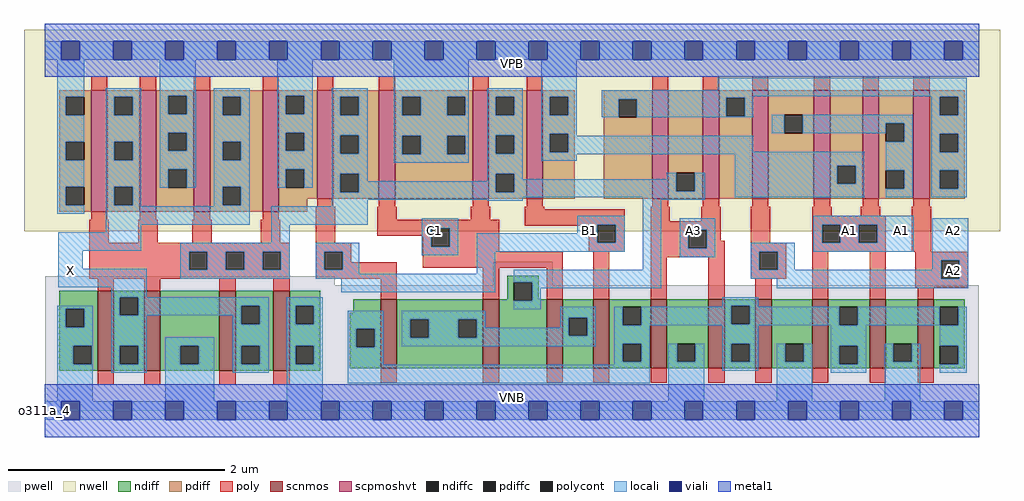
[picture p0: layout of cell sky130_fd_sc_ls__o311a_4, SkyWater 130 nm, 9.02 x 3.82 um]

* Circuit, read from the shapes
.subckt sky130_fd_sc_ls__o311a_4 A1 A2 A3 B1 C1 VGND VNB VPB VPWR X
XM1 X n1 VGND VNB sky130_fd_pr__nfet_01v8 w=0.74 l=0.15 m=4
XM2 n2 B1 n3 VNB sky130_fd_pr__nfet_01v8 w=0.64 l=0.15 m=2
XM3 n1 C1 n2 VNB sky130_fd_pr__nfet_01v8 w=0.64 l=0.15 m=2
XM4 VGND A3 n3 VNB sky130_fd_pr__nfet_01v8 w=0.64 l=0.15 m=2
XM5 VGND A2 n3 VNB sky130_fd_pr__nfet_01v8 w=0.64 l=0.15 m=2
XM6 n3 A1 VGND VNB sky130_fd_pr__nfet_01v8 w=0.64 l=0.15 m=2
XM7 X n1 VPWR VPB sky130_fd_pr__pfet_01v8_hvt w=1.12 l=0.15 m=4
XM8 n1 B1 VPWR VPB sky130_fd_pr__pfet_01v8_hvt w=1 l=0.15 m=2
XM9 VPWR C1 n1 VPB sky130_fd_pr__pfet_01v8_hvt w=1 l=0.15 m=2
XM10 n1 A3 n4 VPB sky130_fd_pr__pfet_01v8_hvt w=1 l=0.15 m=2
XM11 n5 A2 n4 VPB sky130_fd_pr__pfet_01v8_hvt w=1 l=0.15 m=2
XM12 VPWR A1 n5 VPB sky130_fd_pr__pfet_01v8_hvt w=1 l=0.15 m=2
.ends

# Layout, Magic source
magic
tech sky130A
magscale 1 2
<< nwell >>
rect -38 332 1766 704
<< pwell >>
rect 1 232 536 248
rect 829 232 939 275
rect 1 49 1727 232
rect 0 0 1728 49
<< scnmos >>
rect 98 74 128 222
rect 184 74 214 222
rect 323 74 353 222
rect 423 74 453 222
rect 621 78 651 206
rect 810 78 840 206
rect 928 78 958 206
rect 1014 78 1044 206
rect 1120 78 1150 206
rect 1227 78 1257 206
rect 1314 78 1344 206
rect 1419 78 1449 206
rect 1525 78 1555 206
rect 1614 78 1644 206
<< scpmoshvt >>
rect 86 368 116 592
rect 176 368 206 592
rect 276 368 306 592
rect 403 368 433 592
rect 504 392 534 592
rect 618 392 648 592
rect 791 392 821 592
rect 891 392 921 592
rect 1123 392 1153 592
rect 1217 392 1247 592
rect 1308 392 1338 592
rect 1422 392 1452 592
rect 1512 392 1542 592
rect 1606 392 1636 592
<< ndiff >>
rect 27 188 98 222
rect 27 154 39 188
rect 73 154 98 188
rect 27 120 98 154
rect 27 86 53 120
rect 87 86 98 120
rect 27 74 98 86
rect 128 210 184 222
rect 128 176 139 210
rect 173 176 184 210
rect 128 120 184 176
rect 128 86 139 120
rect 173 86 184 120
rect 128 74 184 86
rect 214 120 323 222
rect 214 86 251 120
rect 285 86 323 120
rect 214 74 323 86
rect 353 194 423 222
rect 353 160 364 194
rect 398 160 423 194
rect 353 120 423 160
rect 353 86 364 120
rect 398 86 423 120
rect 353 74 423 86
rect 453 194 510 222
rect 855 237 913 249
rect 855 206 867 237
rect 453 160 464 194
rect 498 160 510 194
rect 571 181 621 206
rect 453 120 510 160
rect 453 86 464 120
rect 498 86 510 120
rect 453 74 510 86
rect 564 151 621 181
rect 564 117 576 151
rect 610 117 621 151
rect 564 78 621 117
rect 651 169 810 206
rect 651 135 676 169
rect 710 135 765 169
rect 799 135 810 169
rect 651 78 810 135
rect 840 203 867 206
rect 901 206 913 237
rect 901 203 928 206
rect 840 78 928 203
rect 958 172 1014 206
rect 958 138 969 172
rect 1003 138 1014 172
rect 958 78 1014 138
rect 1044 192 1120 206
rect 1044 158 1069 192
rect 1103 158 1120 192
rect 1044 124 1120 158
rect 1044 90 1069 124
rect 1103 90 1120 124
rect 1044 78 1120 90
rect 1150 124 1227 206
rect 1150 90 1169 124
rect 1203 90 1227 124
rect 1150 78 1227 90
rect 1257 194 1314 206
rect 1257 160 1269 194
rect 1303 160 1314 194
rect 1257 124 1314 160
rect 1257 90 1269 124
rect 1303 90 1314 124
rect 1257 78 1314 90
rect 1344 124 1419 206
rect 1344 90 1369 124
rect 1403 90 1419 124
rect 1344 78 1419 90
rect 1449 192 1525 206
rect 1449 158 1469 192
rect 1503 158 1525 192
rect 1449 120 1525 158
rect 1449 86 1469 120
rect 1503 86 1525 120
rect 1449 78 1525 86
rect 1555 124 1614 206
rect 1555 90 1569 124
rect 1603 90 1614 124
rect 1555 78 1614 90
rect 1644 192 1701 206
rect 1644 158 1655 192
rect 1689 158 1701 192
rect 1644 120 1701 158
rect 1644 86 1655 120
rect 1689 86 1701 120
rect 1644 78 1701 86
<< pdiff >>
rect 27 580 86 592
rect 27 546 39 580
rect 73 546 86 580
rect 27 497 86 546
rect 27 463 39 497
rect 73 463 86 497
rect 27 414 86 463
rect 27 380 39 414
rect 73 380 86 414
rect 27 368 86 380
rect 116 580 176 592
rect 116 546 129 580
rect 163 546 176 580
rect 116 497 176 546
rect 116 463 129 497
rect 163 463 176 497
rect 116 414 176 463
rect 116 380 129 414
rect 163 380 176 414
rect 116 368 176 380
rect 206 582 276 592
rect 206 548 229 582
rect 263 548 276 582
rect 206 514 276 548
rect 206 480 229 514
rect 263 480 276 514
rect 206 446 276 480
rect 206 412 229 446
rect 263 412 276 446
rect 206 368 276 412
rect 306 580 403 592
rect 306 546 329 580
rect 363 546 403 580
rect 306 497 403 546
rect 306 463 329 497
rect 363 463 403 497
rect 306 414 403 463
rect 306 380 329 414
rect 363 380 403 414
rect 306 368 403 380
rect 433 582 504 592
rect 433 548 446 582
rect 480 548 504 582
rect 433 514 504 548
rect 433 480 446 514
rect 480 480 504 514
rect 433 446 504 480
rect 433 412 446 446
rect 480 412 504 446
rect 433 392 504 412
rect 534 580 618 592
rect 534 546 547 580
rect 581 546 618 580
rect 534 509 618 546
rect 534 475 547 509
rect 581 475 618 509
rect 534 438 618 475
rect 534 404 547 438
rect 581 404 618 438
rect 534 392 618 404
rect 648 580 791 592
rect 648 546 661 580
rect 695 546 744 580
rect 778 546 791 580
rect 648 508 791 546
rect 648 474 661 508
rect 695 474 744 508
rect 778 474 791 508
rect 648 392 791 474
rect 821 580 891 592
rect 821 546 834 580
rect 868 546 891 580
rect 821 509 891 546
rect 821 475 834 509
rect 868 475 891 509
rect 821 438 891 475
rect 821 404 834 438
rect 868 404 891 438
rect 821 392 891 404
rect 921 580 980 592
rect 921 546 934 580
rect 968 546 980 580
rect 921 512 980 546
rect 921 478 934 512
rect 968 478 980 512
rect 921 392 980 478
rect 1034 576 1123 592
rect 1034 542 1061 576
rect 1095 542 1123 576
rect 1034 392 1123 542
rect 1153 440 1217 592
rect 1153 406 1168 440
rect 1202 406 1217 440
rect 1153 392 1217 406
rect 1247 578 1308 592
rect 1247 544 1260 578
rect 1294 544 1308 578
rect 1247 392 1308 544
rect 1338 547 1422 592
rect 1338 513 1367 547
rect 1401 513 1422 547
rect 1338 392 1422 513
rect 1452 453 1512 592
rect 1452 419 1465 453
rect 1499 419 1512 453
rect 1452 392 1512 419
rect 1542 531 1606 592
rect 1542 497 1555 531
rect 1589 497 1606 531
rect 1542 444 1606 497
rect 1542 410 1555 444
rect 1589 410 1606 444
rect 1542 392 1606 410
rect 1636 580 1701 592
rect 1636 546 1655 580
rect 1689 546 1701 580
rect 1636 512 1701 546
rect 1636 478 1655 512
rect 1689 478 1701 512
rect 1636 444 1701 478
rect 1636 410 1655 444
rect 1689 410 1701 444
rect 1636 392 1701 410
rect 433 368 486 392
<< ndiffc >>
rect 39 154 73 188
rect 53 86 87 120
rect 139 176 173 210
rect 139 86 173 120
rect 251 86 285 120
rect 364 160 398 194
rect 364 86 398 120
rect 464 160 498 194
rect 464 86 498 120
rect 576 117 610 151
rect 676 135 710 169
rect 765 135 799 169
rect 867 203 901 237
rect 969 138 1003 172
rect 1069 158 1103 192
rect 1069 90 1103 124
rect 1169 90 1203 124
rect 1269 160 1303 194
rect 1269 90 1303 124
rect 1369 90 1403 124
rect 1469 158 1503 192
rect 1469 86 1503 120
rect 1569 90 1603 124
rect 1655 158 1689 192
rect 1655 86 1689 120
<< pdiffc >>
rect 39 546 73 580
rect 39 463 73 497
rect 39 380 73 414
rect 129 546 163 580
rect 129 463 163 497
rect 129 380 163 414
rect 229 548 263 582
rect 229 480 263 514
rect 229 412 263 446
rect 329 546 363 580
rect 329 463 363 497
rect 329 380 363 414
rect 446 548 480 582
rect 446 480 480 514
rect 446 412 480 446
rect 547 546 581 580
rect 547 475 581 509
rect 547 404 581 438
rect 661 546 695 580
rect 744 546 778 580
rect 661 474 695 508
rect 744 474 778 508
rect 834 546 868 580
rect 834 475 868 509
rect 834 404 868 438
rect 934 546 968 580
rect 934 478 968 512
rect 1061 542 1095 576
rect 1168 406 1202 440
rect 1260 544 1294 578
rect 1367 513 1401 547
rect 1465 419 1499 453
rect 1555 497 1589 531
rect 1555 410 1589 444
rect 1655 546 1689 580
rect 1655 478 1689 512
rect 1655 410 1689 444
<< poly >>
rect 86 592 116 618
rect 176 592 206 618
rect 276 592 306 618
rect 403 592 433 618
rect 504 592 534 618
rect 618 592 648 618
rect 791 592 821 618
rect 891 592 921 618
rect 1123 592 1153 618
rect 1217 592 1247 618
rect 1308 592 1338 618
rect 1422 592 1452 618
rect 1512 592 1542 618
rect 1606 592 1636 618
rect 504 377 534 392
rect 618 377 648 392
rect 791 377 821 392
rect 891 377 921 392
rect 1123 377 1153 392
rect 1217 377 1247 392
rect 1308 377 1338 392
rect 1422 377 1452 392
rect 1512 377 1542 392
rect 1606 377 1636 392
rect 86 353 116 368
rect 176 353 206 368
rect 276 353 306 368
rect 403 353 433 368
rect 83 310 119 353
rect 173 310 209 353
rect 273 310 309 353
rect 400 310 436 353
rect 501 310 537 377
rect 615 353 651 377
rect 788 353 824 377
rect 888 372 924 377
rect 615 337 840 353
rect 888 344 1072 372
rect 888 342 1022 344
rect 615 323 715 337
rect 83 294 453 310
rect 83 260 267 294
rect 301 260 335 294
rect 369 260 403 294
rect 437 260 453 294
rect 83 244 453 260
rect 501 294 567 310
rect 501 260 517 294
rect 551 274 567 294
rect 699 303 715 323
rect 749 303 840 337
rect 699 294 840 303
rect 1006 310 1022 342
rect 1056 310 1072 344
rect 1006 294 1072 310
rect 1120 350 1156 377
rect 1214 350 1250 377
rect 1120 334 1250 350
rect 1120 300 1190 334
rect 1224 314 1250 334
rect 1224 300 1257 314
rect 551 260 651 274
rect 699 264 958 294
rect 501 244 651 260
rect 98 222 128 244
rect 184 222 214 244
rect 323 222 353 244
rect 423 222 453 244
rect 621 206 651 244
rect 810 206 840 264
rect 928 206 958 264
rect 1014 206 1044 294
rect 1120 284 1257 300
rect 1120 206 1150 284
rect 1227 206 1257 284
rect 1305 310 1341 377
rect 1419 360 1455 377
rect 1509 360 1545 377
rect 1419 344 1555 360
rect 1419 310 1437 344
rect 1471 310 1505 344
rect 1539 310 1555 344
rect 1305 294 1371 310
rect 1305 260 1321 294
rect 1355 260 1371 294
rect 1305 244 1371 260
rect 1419 294 1555 310
rect 1603 294 1639 377
rect 1314 206 1344 244
rect 1419 206 1449 294
rect 1525 206 1555 294
rect 1609 278 1707 294
rect 1609 244 1657 278
rect 1691 244 1707 278
rect 1609 228 1707 244
rect 1614 206 1644 228
rect 98 48 128 74
rect 184 48 214 74
rect 323 48 353 74
rect 423 48 453 74
rect 621 52 651 78
rect 810 52 840 78
rect 928 52 958 78
rect 1014 52 1044 78
rect 1120 52 1150 78
rect 1227 52 1257 78
rect 1314 52 1344 78
rect 1419 52 1449 78
rect 1525 52 1555 78
rect 1614 52 1644 78
<< polycont >>
rect 267 260 301 294
rect 335 260 369 294
rect 403 260 437 294
rect 517 260 551 294
rect 715 303 749 337
rect 1022 310 1056 344
rect 1190 300 1224 334
rect 1437 310 1471 344
rect 1505 310 1539 344
rect 1321 260 1355 294
rect 1657 244 1691 278
<< locali >>
rect 0 649 31 683
rect 65 649 127 683
rect 161 649 223 683
rect 257 649 319 683
rect 353 649 415 683
rect 449 649 511 683
rect 545 649 607 683
rect 641 649 703 683
rect 737 649 799 683
rect 833 649 895 683
rect 929 649 991 683
rect 1025 649 1087 683
rect 1121 649 1183 683
rect 1217 649 1279 683
rect 1313 649 1375 683
rect 1409 649 1471 683
rect 1505 649 1567 683
rect 1601 649 1663 683
rect 1697 649 1728 683
rect 23 580 73 649
rect 23 546 39 580
rect 23 497 73 546
rect 23 463 39 497
rect 23 414 73 463
rect 23 380 39 414
rect 23 364 73 380
rect 113 580 179 596
rect 113 546 129 580
rect 163 546 179 580
rect 113 497 179 546
rect 113 463 129 497
rect 163 463 179 497
rect 113 414 179 463
rect 113 380 129 414
rect 163 380 179 414
rect 213 582 279 649
rect 213 548 229 582
rect 263 548 279 582
rect 213 514 279 548
rect 213 480 229 514
rect 263 480 279 514
rect 213 446 279 480
rect 213 412 229 446
rect 263 412 279 446
rect 313 580 379 596
rect 313 546 329 580
rect 363 546 379 580
rect 313 497 379 546
rect 313 463 329 497
rect 363 463 379 497
rect 313 414 379 463
rect 113 378 179 380
rect 313 380 329 414
rect 363 380 379 414
rect 430 582 496 649
rect 430 548 446 582
rect 480 548 496 582
rect 430 514 496 548
rect 430 480 446 514
rect 480 480 496 514
rect 430 446 496 480
rect 430 412 446 446
rect 480 412 496 446
rect 531 580 597 596
rect 531 546 547 580
rect 581 546 597 580
rect 531 509 597 546
rect 531 475 547 509
rect 581 475 597 509
rect 531 438 597 475
rect 645 580 784 649
rect 645 546 661 580
rect 695 546 744 580
rect 778 546 784 580
rect 645 508 784 546
rect 645 474 661 508
rect 695 474 744 508
rect 778 474 784 508
rect 645 458 784 474
rect 818 580 884 596
rect 818 546 834 580
rect 868 546 884 580
rect 818 509 884 546
rect 818 475 834 509
rect 868 475 884 509
rect 313 378 379 380
rect 531 404 547 438
rect 581 424 597 438
rect 818 438 884 475
rect 918 580 984 649
rect 1244 592 1705 615
rect 918 546 934 580
rect 968 546 984 580
rect 918 512 984 546
rect 1030 581 1705 592
rect 1030 578 1310 581
rect 1030 576 1260 578
rect 1030 542 1061 576
rect 1095 544 1260 576
rect 1294 544 1310 578
rect 1639 580 1705 581
rect 1095 542 1310 544
rect 1344 513 1367 547
rect 1401 531 1605 547
rect 1401 513 1555 531
rect 918 478 934 512
rect 968 508 984 512
rect 968 479 1310 508
rect 1589 497 1605 531
rect 968 478 1515 479
rect 918 474 1515 478
rect 918 462 984 474
rect 1276 453 1515 474
rect 818 424 834 438
rect 581 404 834 424
rect 868 428 884 438
rect 1150 428 1168 440
rect 868 406 1168 428
rect 1202 406 1220 440
rect 868 404 1220 406
rect 531 394 1220 404
rect 1276 419 1465 453
rect 1499 419 1515 453
rect 1276 394 1515 419
rect 1555 444 1605 497
rect 1589 410 1605 444
rect 1555 394 1605 410
rect 1639 546 1655 580
rect 1689 546 1705 580
rect 1639 512 1705 546
rect 1639 478 1655 512
rect 1689 478 1705 512
rect 1639 444 1705 478
rect 1639 410 1655 444
rect 1689 410 1705 444
rect 1639 394 1705 410
rect 531 390 884 394
rect 531 378 597 390
rect 818 388 884 390
rect 1106 390 1220 394
rect 113 344 379 378
rect 419 344 597 378
rect 113 330 179 344
rect 25 296 179 330
rect 419 310 453 344
rect 697 337 765 356
rect 25 262 71 296
rect 251 294 453 310
rect 25 228 189 262
rect 251 260 267 294
rect 301 260 335 294
rect 369 260 403 294
rect 437 260 453 294
rect 251 244 453 260
rect 501 294 582 310
rect 501 260 517 294
rect 551 260 582 294
rect 697 303 715 337
rect 749 303 765 337
rect 985 344 1072 360
rect 985 328 1022 344
rect 697 287 765 303
rect 799 310 1022 328
rect 1056 310 1072 344
rect 799 294 1072 310
rect 501 253 582 260
rect 799 253 833 294
rect 1106 260 1140 390
rect 1174 334 1240 356
rect 1174 300 1190 334
rect 1224 300 1240 334
rect 1421 344 1607 360
rect 1421 310 1437 344
rect 1471 310 1505 344
rect 1539 310 1607 344
rect 1174 284 1240 300
rect 1305 294 1387 310
rect 1421 294 1607 310
rect 501 244 833 253
rect 123 210 189 228
rect 548 219 833 244
rect 867 237 1140 260
rect 1305 260 1321 294
rect 1355 260 1387 294
rect 1641 278 1707 356
rect 1641 260 1657 278
rect 1305 244 1657 260
rect 1691 244 1707 278
rect 23 188 89 194
rect 23 154 39 188
rect 73 154 89 188
rect 23 120 89 154
rect 23 86 53 120
rect 87 86 89 120
rect 23 17 89 86
rect 123 176 139 210
rect 173 194 414 210
rect 173 176 364 194
rect 123 120 189 176
rect 348 160 364 176
rect 398 160 414 194
rect 123 86 139 120
rect 173 86 189 120
rect 123 70 189 86
rect 223 120 314 136
rect 223 86 251 120
rect 285 86 314 120
rect 223 17 314 86
rect 348 120 414 160
rect 348 86 364 120
rect 398 86 414 120
rect 348 70 414 86
rect 448 194 514 210
rect 448 160 464 194
rect 498 160 514 194
rect 901 226 1140 237
rect 1353 226 1707 244
rect 901 203 917 226
rect 867 187 917 203
rect 1253 194 1319 210
rect 1253 192 1269 194
rect 448 120 514 160
rect 448 86 464 120
rect 498 86 514 120
rect 448 17 514 86
rect 560 151 626 185
rect 560 117 576 151
rect 610 117 626 151
rect 660 169 815 185
rect 660 135 676 169
rect 710 135 765 169
rect 799 153 815 169
rect 953 172 1019 192
rect 953 153 969 172
rect 799 138 969 153
rect 1003 138 1019 172
rect 799 135 1019 138
rect 660 119 1019 135
rect 1053 158 1069 192
rect 1103 160 1269 192
rect 1303 192 1319 194
rect 1303 160 1469 192
rect 1103 158 1469 160
rect 1503 158 1655 192
rect 1689 158 1705 192
rect 1053 124 1119 158
rect 1253 124 1319 158
rect 560 85 626 117
rect 1053 90 1069 124
rect 1103 90 1119 124
rect 1053 85 1119 90
rect 560 51 1119 85
rect 1153 90 1169 124
rect 1203 90 1219 124
rect 1153 17 1219 90
rect 1253 90 1269 124
rect 1303 90 1319 124
rect 1253 74 1319 90
rect 1353 90 1369 124
rect 1403 90 1419 124
rect 1353 17 1419 90
rect 1453 120 1519 158
rect 1453 86 1469 120
rect 1503 86 1519 120
rect 1453 70 1519 86
rect 1553 90 1569 124
rect 1603 90 1619 124
rect 1553 17 1619 90
rect 1655 120 1705 158
rect 1689 86 1705 120
rect 1655 70 1705 86
rect 0 -17 31 17
rect 65 -17 127 17
rect 161 -17 223 17
rect 257 -17 319 17
rect 353 -17 415 17
rect 449 -17 511 17
rect 545 -17 607 17
rect 641 -17 703 17
rect 737 -17 799 17
rect 833 -17 895 17
rect 929 -17 991 17
rect 1025 -17 1087 17
rect 1121 -17 1183 17
rect 1217 -17 1279 17
rect 1313 -17 1375 17
rect 1409 -17 1471 17
rect 1505 -17 1567 17
rect 1601 -17 1663 17
rect 1697 -17 1728 17
<< viali >>
rect 31 649 65 683
rect 127 649 161 683
rect 223 649 257 683
rect 319 649 353 683
rect 415 649 449 683
rect 511 649 545 683
rect 607 649 641 683
rect 703 649 737 683
rect 799 649 833 683
rect 895 649 929 683
rect 991 649 1025 683
rect 1087 649 1121 683
rect 1183 649 1217 683
rect 1279 649 1313 683
rect 1375 649 1409 683
rect 1471 649 1505 683
rect 1567 649 1601 683
rect 1663 649 1697 683
rect 31 -17 65 17
rect 127 -17 161 17
rect 223 -17 257 17
rect 319 -17 353 17
rect 415 -17 449 17
rect 511 -17 545 17
rect 607 -17 641 17
rect 703 -17 737 17
rect 799 -17 833 17
rect 895 -17 929 17
rect 991 -17 1025 17
rect 1087 -17 1121 17
rect 1183 -17 1217 17
rect 1279 -17 1313 17
rect 1375 -17 1409 17
rect 1471 -17 1505 17
rect 1567 -17 1601 17
rect 1663 -17 1697 17
<< metal1 >>
rect 0 683 1728 715
rect 0 649 31 683
rect 65 649 127 683
rect 161 649 223 683
rect 257 649 319 683
rect 353 649 415 683
rect 449 649 511 683
rect 545 649 607 683
rect 641 649 703 683
rect 737 649 799 683
rect 833 649 895 683
rect 929 649 991 683
rect 1025 649 1087 683
rect 1121 649 1183 683
rect 1217 649 1279 683
rect 1313 649 1375 683
rect 1409 649 1471 683
rect 1505 649 1567 683
rect 1601 649 1663 683
rect 1697 649 1728 683
rect 0 617 1728 649
rect 0 17 1728 49
rect 0 -17 31 17
rect 65 -17 127 17
rect 161 -17 223 17
rect 257 -17 319 17
rect 353 -17 415 17
rect 449 -17 511 17
rect 545 -17 607 17
rect 641 -17 703 17
rect 737 -17 799 17
rect 833 -17 895 17
rect 929 -17 991 17
rect 1025 -17 1087 17
rect 1121 -17 1183 17
rect 1217 -17 1279 17
rect 1313 -17 1375 17
rect 1409 -17 1471 17
rect 1505 -17 1567 17
rect 1601 -17 1663 17
rect 1697 -17 1728 17
rect 0 -49 1728 -17
<< labels >>
rlabel comment s 0 0 0 0 4 o311a_4
flabel pwell s 0 0 1728 49 0 FreeSans 200 0 0 0 VNB
port 7 nsew ground bidirectional
flabel nwell s 0 617 1728 666 0 FreeSans 200 0 0 0 VPB
port 8 nsew power bidirectional
flabel metal1 s 0 617 1728 666 0 FreeSans 340 0 0 0 VPWR
port 9 nsew power bidirectional abutment
flabel metal1 s 0 0 1728 49 0 FreeSans 340 0 0 0 VGND
port 6 nsew ground bidirectional abutment
flabel locali s 703 316 737 350 0 FreeSans 340 0 0 0 C1
port 5 nsew signal input
flabel locali s 991 316 1025 350 0 FreeSans 340 0 0 0 B1
port 4 nsew signal input
flabel locali s 1183 316 1217 350 0 FreeSans 340 0 0 0 A3
port 3 nsew signal input
flabel locali s 1663 242 1697 276 0 FreeSans 340 0 0 0 A2
port 2 nsew signal input
flabel locali s 1663 316 1697 350 0 FreeSans 340 0 0 0 A2
port 2 nsew signal input
flabel locali s 1471 316 1505 350 0 FreeSans 340 0 0 0 A1
port 1 nsew signal input
flabel locali s 1567 316 1601 350 0 FreeSans 340 0 0 0 A1
port 1 nsew signal input
flabel locali s 31 242 65 276 0 FreeSans 340 0 0 0 X
port 10 nsew signal output
<< properties >>
string LEFsite unit
string LEFclass CORE
string FIXED_BBOX 0 0 1728 666
string GDS_FILE $PDKPATH/libs.ref/sky130_fd_sc_ls/gds/sky130_fd_sc_ls.gds
string LEFsymmetry X Y
string GDS_END 2110270
string GDS_START 2096624
<< end >>
